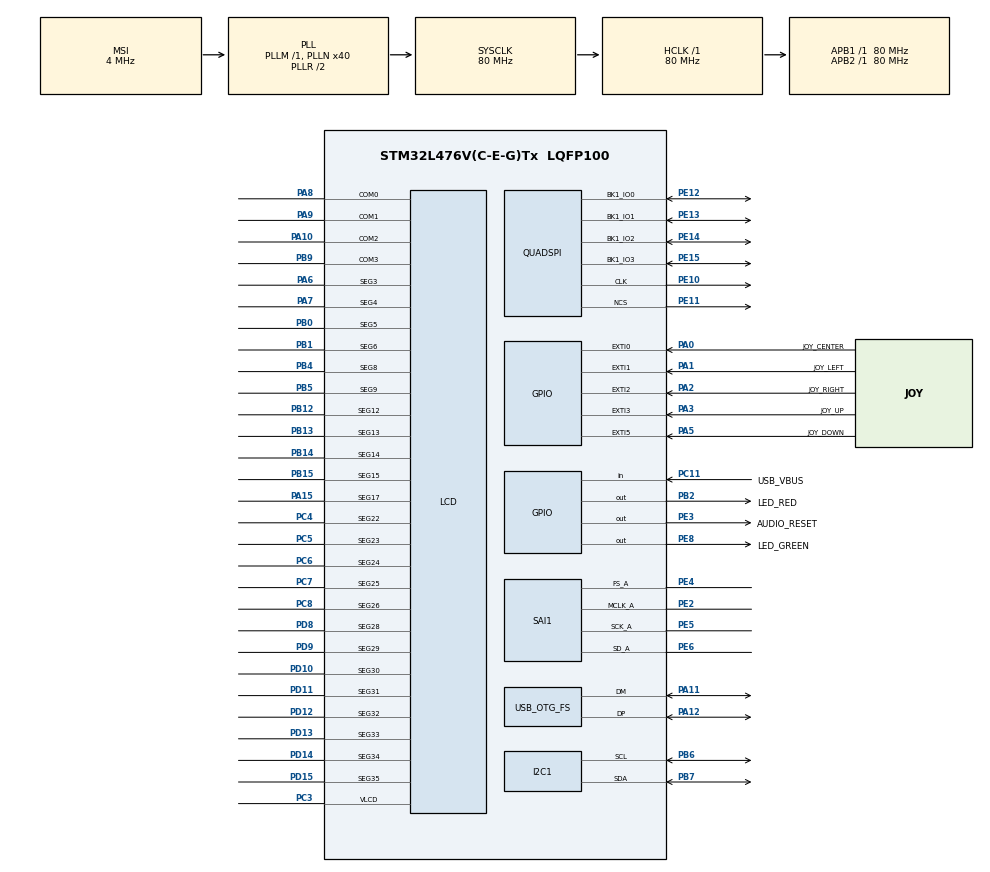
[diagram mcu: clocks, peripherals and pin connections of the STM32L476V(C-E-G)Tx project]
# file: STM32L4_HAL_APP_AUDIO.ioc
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Dma.Request0=SAI1_A
Dma.SAI1_A.0.Direction=DMA_MEMORY_TO_PERIPH
Dma.SAI1_A.0.Instance=DMA2_Channel1
Dma.SAI1_A.0.MemDataAlignment=DMA_MDATAALIGN_HALFWORD
Dma.SAI1_A.0.MemInc=DMA_MINC_ENABLE
Dma.SAI1_A.0.Mode=DMA_CIRCULAR
Dma.SAI1_A.0.PeriphDataAlignment=DMA_PDATAALIGN_HALFWORD
Dma.SAI1_A.0.PeriphInc=DMA_PINC_DISABLE
Dma.SAI1_A.0.Priority=DMA_PRIORITY_HIGH
FATFS._FS_EXFAT=1
FATFS._MAX_SS=4096
FATFS._MIN_SS=4096
FATFS._USE_LFN=2
FREERTOS.Mutexes01=qspiMutex,Dynamic,NULL
FREERTOS.Queues01=joystickInputQueue,1,uint16_t,0,Dynamic,NULL,NULL
FREERTOS.Tasks01=appTask,0,4096,appTaskBody,Default,NULL,Dynamic,NULL,NULL;usbTask,2,256,usbTaskBody,Default,NULL,Dynamic,NULL,NULL;audioTask,0,1024,audioTaskBody,Default,NULL,Dynamic,NULL,NULL;displayTask,0,128,displayTaskBody,Default,NULL,Dynamic,NULL,NULL
FREERTOS.configENABLE_FPU=1
FREERTOS.configTOTAL_HEAP_SIZE=32768
FREERTOS.configUSE_NEWLIB_REENTRANT=1
I2C1.I2C_Fall_Time=20
I2C1.I2C_Rise_Time=640
I2C1.Timing=0x40E03E53
LCD.Bias=LCD_BIAS_1_3
LCD.Contrast=LCD_CONTRASTLEVEL_5
LCD.Divider=LCD_DIVIDER_31
LCD.PulseOnDuration=LCD_PULSEONDURATION_5
Mcu.Family=STM32L4
Mcu.Name=STM32L476V(C-E-G)Tx
Mcu.Package=LQFP100
Mcu.UserConstants=A,0x1;B,0x2
NVIC.DMA2_Channel1_IRQn=true\:5\:0\:false\:false\:true\:true\:false\:true\:true
NVIC.EXTI0_IRQn=true\:5\:0\:false\:false\:true\:true\:true\:true\:true
NVIC.EXTI1_IRQn=true\:5\:0\:false\:false\:true\:true\:true\:true\:true
NVIC.EXTI2_IRQn=true\:5\:0\:false\:false\:true\:true\:true\:true\:true
NVIC.EXTI3_IRQn=true\:5\:0\:false\:false\:true\:true\:true\:true\:true
NVIC.EXTI9_5_IRQn=true\:5\:0\:false\:false\:true\:true\:true\:true\:true
NVIC.OTG_FS_IRQn=true\:5\:0\:false\:false\:true\:true\:false\:true\:true
NVIC.PriorityGroup=NVIC_PRIORITYGROUP_4
PA0.GPIO_Label=JOY_CENTER
PA0.GPIO_PuPd=GPIO_PULLDOWN
PA0.Signal=GPXTI0
PA1.GPIO_Label=JOY_LEFT
PA1.GPIO_PuPd=GPIO_PULLDOWN
PA1.Signal=GPXTI1
PA10.Mode=1/4 Duty Cycle
PA10.Signal=LCD_COM2
PA11.Mode=Device_Only
PA11.Signal=USB_OTG_FS_DM
PA12.Mode=Device_Only
PA12.Signal=USB_OTG_FS_DP
PA13\ (JTMS-SWDIO).Mode=Serial_Wire
PA13\ (JTMS-SWDIO).Signal=SYS_JTMS-SWDIO
PA14\ (JTCK-SWCLK).Mode=Serial_Wire
PA14\ (JTCK-SWCLK).Signal=SYS_JTCK-SWCLK
PA15\ (JTDI).Mode=SEG17
PA15\ (JTDI).Signal=LCD_SEG17
PA2.GPIO_Label=JOY_RIGHT
PA2.GPIO_PuPd=GPIO_PULLDOWN
PA2.Signal=GPXTI2
PA3.GPIO_Label=JOY_UP
PA3.GPIO_PuPd=GPIO_PULLDOWN
PA3.Signal=GPXTI3
PA5.GPIO_Label=JOY_DOWN
PA5.GPIO_PuPd=GPIO_PULLDOWN
PA5.Signal=GPXTI5
PA6.Mode=SEG3
PA6.Signal=LCD_SEG3
PA7.Mode=SEG4
PA7.Signal=LCD_SEG4
PA8.Mode=1/4 Duty Cycle
PA8.Signal=LCD_COM0
PA9.Mode=1/4 Duty Cycle
PA9.Signal=LCD_COM1
PB0.Mode=SEG5
PB0.Signal=LCD_SEG5
PB1.Mode=SEG6
PB1.Signal=LCD_SEG6
PB12.Mode=SEG12
PB12.Signal=LCD_SEG12
PB13.Mode=SEG13
PB13.Signal=LCD_SEG13
PB14.Mode=SEG14
PB14.Signal=LCD_SEG14
PB15.Mode=SEG15
PB15.Signal=LCD_SEG15
PB2.GPIO_Label=LED_RED
PB2.Signal=GPIO_Output
PB4\ (NJTRST).Mode=SEG8
PB4\ (NJTRST).Signal=LCD_SEG8
PB5.Mode=SEG9
PB5.Signal=LCD_SEG9
PB6.Mode=I2C
PB6.Signal=I2C1_SCL
PB7.Mode=I2C
PB7.Signal=I2C1_SDA
PB9.Mode=1/4 Duty Cycle
PB9.Signal=LCD_COM3
PC11.GPIO_Label=USB_VBUS
PC11.Signal=GPIO_Input
PC14-OSC32_IN\ (PC14).Mode=LSE-External-Oscillator
PC14-OSC32_IN\ (PC14).Signal=RCC_OSC32_IN
PC15-OSC32_OUT\ (PC15).Mode=LSE-External-Oscillator
PC15-OSC32_OUT\ (PC15).Signal=RCC_OSC32_OUT
PC3.Mode=1/4 Duty Cycle
PC3.Signal=LCD_VLCD
PC4.Mode=SEG22
PC4.Signal=LCD_SEG22
PC5.Mode=SEG23
PC5.Signal=LCD_SEG23
PC6.Mode=SEG24
PC6.Signal=LCD_SEG24
PC7.Mode=SEG25
PC7.Signal=LCD_SEG25
PC8.Mode=SEG26
PC8.Signal=LCD_SEG26
PD10.Mode=SEG30
PD10.Signal=LCD_SEG30
PD11.Mode=SEG31
PD11.Signal=LCD_SEG31
PD12.Mode=SEG32
PD12.Signal=LCD_SEG32
PD13.Mode=SEG33
PD13.Signal=LCD_SEG33
PD14.Mode=SEG34
PD14.Signal=LCD_SEG34
PD15.Mode=SEG35
PD15.Signal=LCD_SEG35
PD8.Mode=SEG28
PD8.Signal=LCD_SEG28
PD9.Mode=SEG29
PD9.Signal=LCD_SEG29
PE10.Mode=Single Bank
PE10.Signal=QUADSPI_CLK
PE11.Mode=Single Bank
PE11.Signal=QUADSPI_NCS
PE12.Mode=Single Bank
PE12.Signal=QUADSPI_BK1_IO0
PE13.Mode=Single Bank
PE13.Signal=QUADSPI_BK1_IO1
PE14.Mode=Single Bank
PE14.Signal=QUADSPI_BK1_IO2
PE15.Mode=Single Bank
PE15.Signal=QUADSPI_BK1_IO3
PE2.Mode=SAI_A_MasterWithClock
PE2.Signal=SAI1_MCLK_A
PE3.GPIO_Label=AUDIO_RESET
PE3.Signal=GPIO_Output
PE4.Mode=SAI_A_MasterWithClock
PE4.Signal=SAI1_FS_A
PE5.Mode=SAI_A_MasterWithClock
PE5.Signal=SAI1_SCK_A
PE6.Mode=SAI_A_MasterWithClock
PE6.Signal=SAI1_SD_A
PE8.GPIO_Label=LED_GREEN
PE8.Signal=GPIO_Output
ProjectManager.HeapSize=0x200
ProjectManager.StackSize=0x400
ProjectManager.TargetToolchain=STM32CubeIDE
QUADSPI.ClockPrescaler-Single\ Bank=0
QUADSPI.FifoThreshold-Single\ Bank=4
QUADSPI.FlashSize-Single\ Bank=(24-1)
RCC.ADCFreq_Value=96000000
RCC.AHBFreq_Value=80000000
RCC.APB1Freq_Value=80000000
RCC.APB1TimFreq_Value=80000000
RCC.APB2Freq_Value=80000000
RCC.APB2TimFreq_Value=80000000
RCC.CortexFreq_Value=80000000
RCC.HCLKFreq_Value=80000000
RCC.HSE_VALUE=8000000
RCC.HSI_VALUE=16000000
RCC.LPTIM2CLockSelection=RCC_LPTIM2CLKSOURCE_LSE
RCC.MSI_VALUE=4000000
RCC.PLLN=40
RCC.PLLSAI1N=48
RCC.PLLSAI1P=RCC_PLLP_DIV17
RCC.PLLSAI1Q=RCC_PLLQ_DIV4
RCC.RTCClockSelection=RCC_RTCCLKSOURCE_LSE
RCC.SYSCLKFreq_VALUE=80000000
RCC.SYSCLKSource=RCC_SYSCLKSOURCE_PLLCLK
RCC.USBFreq_Value=48000000
RCC.VCOOutputFreq_Value=160000000
SAI1.ActiveFrameLength-SAI_A_MasterWithClock=16
SAI1.AudioFrequency-SAI_A_MasterWithClock=SAI_AUDIO_FREQUENCY_44K
SAI1.ClockStrobing-SAI_A_MasterWithClock=SAI_CLOCKSTROBING_RISINGEDGE
SAI1.DataSize-SAI_A_MasterWithClock=SAI_DATASIZE_16
SAI1.ErrorAudioFreq-SAI_A_MasterWithClock=0.26 %
SAI1.FIFOThreshold-SAI_A_MasterWithClock=SAI_FIFOTHRESHOLD_1QF
SAI1.FSDefinition-SAI_A_MasterWithClock=SAI_FS_CHANNEL_IDENTIFICATION
SAI1.FSOffset-SAI_A_MasterWithClock=SAI_FS_BEFOREFIRSTBIT
SAI1.FrameLength-SAI_A_MasterWithClock=32
SAI1.Instance-SAI_A_MasterWithClock=SAI$Index_Block_A
SAI1.MClockEnable-SAI_A_MasterWithClock=SAI_MASTERCLOCK_ENABLE
SAI1.OutputDrive-SAI_A_MasterWithClock=SAI_OUTPUTDRIVE_ENABLE
SAI1.RealAudioFreq-SAI_A_MasterWithClock=44.117 KHz
SAI1.SlotActive-SAI_A_MasterWithClock=0x00000003
SAI1.SlotNumber-SAI_A_MasterWithClock=2
SAI1.VirtualMode-SAI_A_MasterWithClock=VM_MASTER
SAI1.VirtualSlotActive-SAI_A_MasterWithClock=SAI_SLOT_USERSETTING
SAI1.VirtualSlotActive0-SAI_A_MasterWithClock=true
SAI1.VirtualSlotActive1-SAI_A_MasterWithClock=true
USB_DEVICE.CLASS_NAME_FS=MSC
USB_DEVICE.MSC_MEDIA_PACKET=4096
USB_DEVICE.USBD_LPM_ENABLED=0
USB_DEVICE.VirtualMode=Msc
USB_DEVICE.VirtualModeFS=Msc_FS
USB_OTG_FS.VirtualMode=Device_Only
VP_FATFS_VS_Generic.Mode=User_defined
VP_FREERTOS_VS_CMSIS_V1.Mode=CMSIS_V1
VP_USB_DEVICE_VS_USB_DEVICE_MSC_FS.Mode=MSC_FS
board=STM32L476G-DISCO

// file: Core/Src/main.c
/* USER CODE BEGIN Header */
/**
  ******************************************************************************
  * @file           : main.c
  * @brief          : Main program body
  ******************************************************************************
  * @attention
  *
  * Copyright (c) 2023 STMicroelectronics.
  * All rights reserved.
  *
  * This software is licensed under terms that can be found in the LICENSE file
  * in the root directory of this software component.
  * If no LICENSE file comes with this software, it is provided AS-IS.
  *
  ******************************************************************************
  */
/* USER CODE END Header */
#include "main.h"
#include "cmsis_os.h"
#include "dma.h"
#include "fatfs.h"
#include "i2c.h"
#include "lcd.h"
#include "quadspi.h"
#include "sai.h"
#include "gpio.h"

void SystemClock_Config(void);
void PeriphCommonClock_Config(void);
void MX_FREERTOS_Init(void);

int main(void)
{

  /* MCU Configuration--------------------------------------------------------*/

  /* Reset of all peripherals, Initializes the Flash interface and the Systick. */
  HAL_Init();

  /* Configure the system clock */
  SystemClock_Config();

/* Configure the peripherals common clocks */
  PeriphCommonClock_Config();

  /* Initialize all configured peripherals */
  MX_GPIO_Init();
  MX_DMA_Init();
  MX_QUADSPI_Init();
  MX_FATFS_Init();
  MX_I2C1_Init();
  MX_SAI1_Init();
  MX_LCD_Init();

  /* Call init function for freertos objects (in freertos.c) */
  MX_FREERTOS_Init();

  /* Start scheduler */
  osKernelStart();

  /* We should never get here as control is now taken by the scheduler */
  /* Infinite loop */
  while (1)
  {

  }
}

void SystemClock_Config(void)
{
  RCC_OscInitTypeDef RCC_OscInitStruct = {0};
  RCC_ClkInitTypeDef RCC_ClkInitStruct = {0};

  /** Configure the main internal regulator output voltage
  */
  if (HAL_PWREx_ControlVoltageScaling(PWR_REGULATOR_VOLTAGE_SCALE1) != HAL_OK)
  {
    Error_Handler();
  }

  /** Configure LSE Drive Capability
  */
  HAL_PWR_EnableBkUpAccess();
  __HAL_RCC_LSEDRIVE_CONFIG(RCC_LSEDRIVE_LOW);

  /** Initializes the RCC Oscillators according to the specified parameters
  * in the RCC_OscInitTypeDef structure.
  */
  RCC_OscInitStruct.OscillatorType = RCC_OSCILLATORTYPE_LSE|RCC_OSCILLATORTYPE_MSI;
  RCC_OscInitStruct.LSEState = RCC_LSE_ON;
  RCC_OscInitStruct.MSIState = RCC_MSI_ON;
  RCC_OscInitStruct.MSICalibrationValue = 0;
  RCC_OscInitStruct.MSIClockRange = RCC_MSIRANGE_6;
  RCC_OscInitStruct.PLL.PLLState = RCC_PLL_ON;
  RCC_OscInitStruct.PLL.PLLSource = RCC_PLLSOURCE_MSI;
  RCC_OscInitStruct.PLL.PLLM = 1;
  RCC_OscInitStruct.PLL.PLLN = 40;
  RCC_OscInitStruct.PLL.PLLP = RCC_PLLP_DIV7;
  RCC_OscInitStruct.PLL.PLLQ = RCC_PLLQ_DIV2;
  RCC_OscInitStruct.PLL.PLLR = RCC_PLLR_DIV2;
  if (HAL_RCC_OscConfig(&RCC_OscInitStruct) != HAL_OK)
  {
    Error_Handler();
  }

  /** Initializes the CPU, AHB and APB buses clocks
  */
  RCC_ClkInitStruct.ClockType = RCC_CLOCKTYPE_HCLK|RCC_CLOCKTYPE_SYSCLK
                              |RCC_CLOCKTYPE_PCLK1|RCC_CLOCKTYPE_PCLK2;
  RCC_ClkInitStruct.SYSCLKSource = RCC_SYSCLKSOURCE_PLLCLK;
  RCC_ClkInitStruct.AHBCLKDivider = RCC_SYSCLK_DIV1;
  RCC_ClkInitStruct.APB1CLKDivider = RCC_HCLK_DIV1;
  RCC_ClkInitStruct.APB2CLKDivider = RCC_HCLK_DIV1;

  if (HAL_RCC_ClockConfig(&RCC_ClkInitStruct, FLASH_LATENCY_4) != HAL_OK)
  {
    Error_Handler();
  }

  /** Enable MSI Auto calibration
  */
  HAL_RCCEx_EnableMSIPLLMode();
}

void PeriphCommonClock_Config(void)
{
  RCC_PeriphCLKInitTypeDef PeriphClkInit = {0};

  /** Initializes the peripherals clock
  */
  PeriphClkInit.PeriphClockSelection = RCC_PERIPHCLK_SAI1|RCC_PERIPHCLK_USB;
  PeriphClkInit.Sai1ClockSelection = RCC_SAI1CLKSOURCE_PLLSAI1;
  PeriphClkInit.UsbClockSelection = RCC_USBCLKSOURCE_PLLSAI1;
  PeriphClkInit.PLLSAI1.PLLSAI1Source = RCC_PLLSOURCE_MSI;
  PeriphClkInit.PLLSAI1.PLLSAI1M = 1;
  PeriphClkInit.PLLSAI1.PLLSAI1N = 48;
  PeriphClkInit.PLLSAI1.PLLSAI1P = RCC_PLLP_DIV17;
  PeriphClkInit.PLLSAI1.PLLSAI1Q = RCC_PLLQ_DIV4;
  PeriphClkInit.PLLSAI1.PLLSAI1R = RCC_PLLR_DIV2;
  PeriphClkInit.PLLSAI1.PLLSAI1ClockOut = RCC_PLLSAI1_SAI1CLK|RCC_PLLSAI1_48M2CLK;
  if (HAL_RCCEx_PeriphCLKConfig(&PeriphClkInit) != HAL_OK)
  {
    Error_Handler();
  }
}

void Error_Handler(void)
{
  __disable_irq();
  while (1)
  {
  }
}

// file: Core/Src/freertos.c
/* USER CODE BEGIN Header */
/**
 ******************************************************************************
 * File Name          : freertos.c
 * Description        : Code for freertos applications
 ******************************************************************************
 * @attention
 *
 * Copyright (c) 2023 STMicroelectronics.
 * All rights reserved.
 *
 * This software is licensed under terms that can be found in the LICENSE file
 * in the root directory of this software component.
 * If no LICENSE file comes with this software, it is provided AS-IS.
 *
 ******************************************************************************
 */
/* USER CODE END Header */

#include "FreeRTOS.h"
#include "task.h"
#include "main.h"
#include "cmsis_os.h"

/* USER CODE BEGIN Includes */
#include "usbd_core.h"
#include "usb_device.h"
#include "fatfs.h"
#include "sai.h"
#include "cs43l22.h"
#include "lcd.h"
/* USER CODE END Includes */

/* USER CODE BEGIN PTD */
#define AUDIO_BUFFER_SIZE     (1024 * 8)    //8K
#define WAV_FILE_HEADER_SIZE  44
/* USER CODE END PTD */

/* USER CODE BEGIN PD */
typedef enum {
  AUDIOPLAYER_STATE_STOPPED = 0,
  AUDIOPLAYER_STATE_RUNNING,
  AUDIOPLAYER_STATE_PAUSED
} AudioPlayer_StateTypeDef;
/* USER CODE END PD */

/* USER CODE BEGIN Variables */
FIL file;
FATFS fatFS;
uint8_t audioBuffer[AUDIO_BUFFER_SIZE];
uint32_t actualPosition;
AudioPlayer_StateTypeDef  AppState = AUDIOPLAYER_STATE_STOPPED;

/* USER CODE END Variables */
osThreadId appTaskHandle;
osThreadId usbTaskHandle;
osThreadId audioTaskHandle;
osThreadId displayTaskHandle;
osMessageQId joystickInputQueueHandle;
osMutexId qspiMutexHandle;

/* USER CODE BEGIN FunctionPrototypes */
static void audioPlayerStart(void);
static void audioPlayerStop(void);
static void audioPlayerPause(void);
static void audioPlayerResume(void);
static void handleJoystickEvent(osEvent event);
/* USER CODE END FunctionPrototypes */

void appTaskBody(void const * argument);
void usbTaskBody(void const * argument);
void audioTaskBody(void const * argument);
void displayTaskBody(void const * argument);

void MX_FREERTOS_Init(void); /* (MISRA C 2004 rule 8.1) */

/* GetIdleTaskMemory prototype (linked to static allocation support) */
void vApplicationGetIdleTaskMemory( StaticTask_t **ppxIdleTaskTCBBuffer, StackType_t **ppxIdleTaskStackBuffer, uint32_t *pulIdleTaskStackSize );

/* USER CODE BEGIN GET_IDLE_TASK_MEMORY */
static StaticTask_t xIdleTaskTCBBuffer;
static StackType_t xIdleStack[configMINIMAL_STACK_SIZE];

void vApplicationGetIdleTaskMemory(StaticTask_t **ppxIdleTaskTCBBuffer, StackType_t **ppxIdleTaskStackBuffer, uint32_t *pulIdleTaskStackSize)
{
  *ppxIdleTaskTCBBuffer = &xIdleTaskTCBBuffer;
  *ppxIdleTaskStackBuffer = &xIdleStack[0];
  *pulIdleTaskStackSize = configMINIMAL_STACK_SIZE;
  /* place for user code */
}
/* USER CODE END GET_IDLE_TASK_MEMORY */

void MX_FREERTOS_Init(void) {
  /* Create the mutex(es) */
  /* definition and creation of qspiMutex */
  osMutexDef(qspiMutex);
  qspiMutexHandle = osMutexCreate(osMutex(qspiMutex));

  /* Create the queue(s) */
  /* definition and creation of joystickInputQueue */
  osMessageQDef(joystickInputQueue, 1, uint16_t);
  joystickInputQueueHandle = osMessageCreate(osMessageQ(joystickInputQueue), NULL);

  /* Create the thread(s) */
  /* definition and creation of appTask */
  osThreadDef(appTask, appTaskBody, osPriorityNormal, 0, 4096);
  appTaskHandle = osThreadCreate(osThread(appTask), NULL);

  /* definition and creation of usbTask */
  osThreadDef(usbTask, usbTaskBody, osPriorityHigh, 0, 256);
  usbTaskHandle = osThreadCreate(osThread(usbTask), NULL);

  /* definition and creation of audioTask */
  osThreadDef(audioTask, audioTaskBody, osPriorityNormal, 0, 1024);
  audioTaskHandle = osThreadCreate(osThread(audioTask), NULL);

  /* definition and creation of displayTask */
  osThreadDef(displayTask, displayTaskBody, osPriorityNormal, 0, 128);
  displayTaskHandle = osThreadCreate(osThread(displayTask), NULL);

}

void appTaskBody(void const * argument)
{
  /* USER CODE BEGIN appTaskBody */

  // get mutex first before access flash memory
  osMutexWait(qspiMutexHandle, osWaitForever);

  // mount file system
  if(f_mount(&fatFS, (TCHAR const*) USERPath, 1) != FR_OK)
  {
    uint8_t work[_MIN_SS];
    if(f_mkfs((TCHAR const*) USERPath, FM_ANY, 0, work, sizeof(work)) != FR_OK)
    {
      Error_Handler();
    }
    else
    {
      if(f_mount(&fatFS, (TCHAR const*) USERPath, 1) != FR_OK)
      {
        Error_Handler();
      }
    }
  }

  // file open test
  if(f_open(&file, "FATFSOK", FA_CREATE_NEW | FA_WRITE) == FR_OK)
  {
    f_printf(&file, "FatFS is working properly.\n");
    f_close(&file);
  }

  // release mutex
  osMutexRelease(qspiMutexHandle);

  // check CS43L22 is available
  if(CS43L22_ID != AUDIO_ReadID(AUDIO_I2C_ADDRESS))
  {
    Error_Handler();
  }

  // initialize audio
  if(AUDIO_Init(AUDIO_I2C_ADDRESS, OUTPUT_DEVICE_HEADPHONE, 60, AUDIO_FREQUENCY_44K) != 0)
  {
    Error_Handler();
  }

  /* Infinite loop */
  for(;;)
  {
    osEvent event = osMessageGet(joystickInputQueueHandle, osWaitForever);

    if(event.status == osEventMessage)
    {
      handleJoystickEvent(event);
    }
  }
  /* USER CODE END appTaskBody */
}

void usbTaskBody(void const * argument)
{
  /* USER CODE BEGIN usbTaskBody */
  uint32_t USB_VBUS_counter = 0;
  /* Infinite loop */
  for(;;)
  {
    USB_VBUS_counter = 0;

    // as long as VBUS is low, it never exit the loop
    while(USB_VBUS_counter < 5)
    {
      osDelay(10);
      // check VBUS HIGH 5 times
      if(HAL_GPIO_ReadPin(USB_VBUS_GPIO_Port, USB_VBUS_Pin) != GPIO_PIN_RESET)
      {
        USB_VBUS_counter++;
      }
      else
      {
        break;
      }
    }

    // if VBUS is HIGH, initialize USB Device
    if(USB_VBUS_counter >= 5)
    {
      // stop audio
      audioPlayerStop();

      // get mutex and shouldn't release until USB is disconnected
      osMutexWait(qspiMutexHandle, osWaitForever);

      // initialize USB
      MX_USB_DEVICE_Init();

      // Red led on
      HAL_GPIO_WritePin(LED_RED_GPIO_Port, LED_RED_Pin, GPIO_PIN_SET);

      // if VBUS is LOW, then deinitialize USB device
      // as long as VBUS is HIGH, it never exit the loop
      while(USB_VBUS_counter)
      {
        osDelay(100);

        if(HAL_GPIO_ReadPin(USB_VBUS_GPIO_Port, USB_VBUS_Pin) == GPIO_PIN_RESET)
        {
          USB_VBUS_counter--;
        }
        else
        {
          USB_VBUS_counter = 5;
        }
      }

      // de-initialize USB
      USBD_DeInit(&hUsbDeviceFS);

      // release mutex
      osMutexRelease(qspiMutexHandle);

      // Red led off
      HAL_GPIO_WritePin(LED_RED_GPIO_Port, LED_RED_Pin, GPIO_PIN_RESET);
    }

    osDelay(1000);
  }
  /* USER CODE END usbTaskBody */
}

void audioTaskBody(void const * argument)
{
  /* USER CODE BEGIN audioTaskBody */
  uint32_t bufferOffset = 0;
  uint32_t bytesRead = 0;
  osEvent event;

  /* pause at first */
  osThreadSuspend(audioTaskHandle);

  /* Infinite loop */
  for(;;)
  {
    // wait DMA transmit signal
    event = osSignalWait(A | B, osWaitForever);

    if(event.status == osEventSignal)
    {
      switch(event.value.v)
      {
      case B:
        // full tx complete
        bufferOffset = AUDIO_BUFFER_SIZE / 2;
        break;
      case A:
        // half tx complete
        bufferOffset = 0;
        break;
      default:
        break;
      }

      // acquire mutex
      osMutexWait(qspiMutexHandle, osWaitForever);

      if(f_read(&file, (audioBuffer + bufferOffset), (AUDIO_BUFFER_SIZE/2), (UINT*)&bytesRead) != FR_OK)
      {
        Error_Handler();
      }

      // update position info
      actualPosition += bytesRead;

      // check EOF and move to the start position of wav data
      if((actualPosition + (AUDIO_BUFFER_SIZE / 2)) > f_size(&file))
      {
        if(f_rewind(&file) != FR_OK)
        {
          Error_Handler();
        }

        if(f_lseek(&file, WAV_FILE_HEADER_SIZE) != FR_OK)
        {
          Error_Handler();
        }

        actualPosition = WAV_FILE_HEADER_SIZE;
      }

      // release mutex
      osMutexRelease(qspiMutexHandle);

      // toggle GREEN LED
      HAL_GPIO_TogglePin(LED_GREEN_GPIO_Port, LED_GREEN_Pin);
    }
  }
  /* USER CODE END audioTaskBody */
}

void displayTaskBody(void const * argument)
{
  /* USER CODE BEGIN displayTaskBody */
  uint32_t prevAppState = -1;

  /* Infinite loop */
  for(;;)
  {
    if (prevAppState != AppState)
    {
      switch(AppState)
      {
      case AUDIOPLAYER_STATE_STOPPED:
        LCD_GLASS_Clear();
        LCD_GLASS_DisplayString((uint8_t*)"*STOP*");
        break;
      case AUDIOPLAYER_STATE_RUNNING:
        LCD_GLASS_Clear();
        LCD_GLASS_DisplayString((uint8_t*)"*PLAY*");
        break;
      case AUDIOPLAYER_STATE_PAUSED:
        LCD_GLASS_Clear();
        LCD_GLASS_DisplayString((uint8_t*)"PAUSED");
        break;
      default:
        Error_Handler();
        break;
      }
    }
    else {
      /* Add some animations or display content changes depending on the App State */
    }

    prevAppState = AppState;
    osDelay(100);
  }
  /* USER CODE END displayTaskBody */
}

/* USER CODE BEGIN Application */
/**
 * @brief Tx Transfer completed callbacks.
 * @param  hsai : pointer to a SAI_HandleTypeDef structure that contains
 *                the configuration information for SAI module.
 * @retval None
 */
void HAL_SAI_TxCpltCallback(SAI_HandleTypeDef *hsai)
{
  osSignalSet(audioTaskHandle, B);
}

/**
 * @brief Tx Transfer Half completed callbacks
 * @param  hsai : pointer to a SAI_HandleTypeDef structure that contains
 *                the configuration information for SAI module.
 * @retval None
 */
void HAL_SAI_TxHalfCpltCallback(SAI_HandleTypeDef *hsai)
{
  osSignalSet(audioTaskHandle, A);
}

/**
 * @brief  EXTI line detection callback.
 * @param  GPIO_Pin Specifies the port pin connected to corresponding EXTI line.
 * @retval None
 */
void HAL_GPIO_EXTI_Callback(uint16_t GPIO_Pin)
{
  switch (GPIO_Pin)
  {
  case JOY_CENTER_Pin:
    osMessagePut(joystickInputQueueHandle, JOY_CENTER_Pin, 0);
    break;
  case JOY_LEFT_Pin:
    osMessagePut(joystickInputQueueHandle, JOY_LEFT_Pin, 0);
    break;
  case JOY_RIGHT_Pin:
    osMessagePut(joystickInputQueueHandle, JOY_RIGHT_Pin, 0);
    break;
  case JOY_UP_Pin:
    osMessagePut(joystickInputQueueHandle, JOY_UP_Pin, 0);
    break;
  case JOY_DOWN_Pin:
    osMessagePut(joystickInputQueueHandle, JOY_DOWN_Pin, 0);
    break;
  default:
    Error_Handler();
    break;
  }
}

// Joystick input handler
static void handleJoystickEvent(osEvent event)
{
  if (event.status != osEventMessage) return;

  switch(AppState)
  {
  case AUDIOPLAYER_STATE_STOPPED:
    if(event.value.v == JOY_RIGHT_Pin)
    {
      audioPlayerStart();
    }
    break;
  case AUDIOPLAYER_STATE_RUNNING:
    if(event.value.v == JOY_CENTER_Pin)
    {
      audioPlayerPause();
    }
    else if(event.value.v == JOY_LEFT_Pin)
    {
      audioPlayerStop();
    }
    break;
  case AUDIOPLAYER_STATE_PAUSED:
    if(event.value.v == JOY_RIGHT_Pin)
    {
      audioPlayerResume();
    }
    else if(event.value.v == JOY_LEFT_Pin)
    {
      audioPlayerStop();
    }
    break;
  default:
    break;
  }
}

/* audio functions */
static void audioPlayerStart(void)
{
  /* Wake-Up external audio Codec and enable output */
  if(0 != AUDIO_Play(AUDIO_I2C_ADDRESS, NULL, 0))
  {
    Error_Handler();
  }

  /* Wait for the qspiMutex */
  osMutexWait(qspiMutexHandle, osWaitForever);

  /* Create and Open a new text file object with write access */
  if(f_open(&file, (TCHAR const*)"audio.wav", FA_READ) != FR_OK)
  {
    Error_Handler();
  }

  /* Skip the WAV header - this we don't want to listen to :) */
  actualPosition = WAV_FILE_HEADER_SIZE;

  /* Move file pointer to appropriate address - keep in mind that the file consists of many blocks in sectors */
  if (f_lseek(&file, WAV_FILE_HEADER_SIZE) != FR_OK)
  {
    Error_Handler();
  }

  /* Release the qspiMutex */
  osMutexRelease(qspiMutexHandle);

  /* Start the SAI DMA transfer from the Buffer */
  if(HAL_OK != HAL_SAI_Transmit_DMA(&hsai_BlockA1, (uint8_t *)audioBuffer, AUDIO_BUFFER_SIZE/2))
  {
    Error_Handler();
  }

  /* update state */
  AppState = AUDIOPLAYER_STATE_RUNNING;

  /* resume task */
  osThreadResume(audioTaskHandle);

}

static void audioPlayerStop(void)
{
  /* Stop the playback */
  if (AUDIO_Stop(AUDIO_I2C_ADDRESS, CODEC_PDWN_SW) != 0)
  {
    Error_Handler();
  }
  /* Stop DMA transfer */
  if (HAL_SAI_DMAStop(&hsai_BlockA1) != HAL_OK)
  {
    Error_Handler();
  }

  /* Wait for the qspiMutex */
  osMutexWait(qspiMutexHandle, osWaitForever);

  /* Pause the audioTask */
  osThreadSuspend(audioTaskHandle);

  /* Close the Audio file */
  if(f_close(&file) != FR_OK)
  {
    Error_Handler();
  }

  /* Release the qspiMutex */
  osMutexRelease(qspiMutexHandle);

  /* Turn OFF the PLAY signaling LED */
  HAL_GPIO_WritePin(LED_GREEN_GPIO_Port, LED_GREEN_Pin, GPIO_PIN_RESET);

  AppState = AUDIOPLAYER_STATE_STOPPED;
}

static void audioPlayerPause(void)
{
  /* Stop the playback */
  if (AUDIO_Pause(AUDIO_I2C_ADDRESS) != 0)
  {
    Error_Handler();
  }
  /* Stop DMA transfer */
  if (HAL_SAI_DMAPause(&hsai_BlockA1) != HAL_OK)
  {
    Error_Handler();
  }

  /* Wait for the qspiMutex */
  osMutexWait(qspiMutexHandle, osWaitForever);

  /* Pause the audioTask */
  osThreadSuspend(audioTaskHandle);

  /* Release the qspiMutex */
  osMutexRelease(qspiMutexHandle);

  /* Turn OFF the PLAY signaling LED */
  HAL_GPIO_WritePin(LED_GREEN_GPIO_Port, LED_GREEN_Pin, GPIO_PIN_RESET);

  AppState = AUDIOPLAYER_STATE_PAUSED;
}

static void audioPlayerResume(void)
{
  /* Resume DMA transfer */
  if (HAL_SAI_DMAResume(&hsai_BlockA1) != HAL_OK)
  {
    Error_Handler();
  }
  /* Resume the playback */
  if (AUDIO_Resume(AUDIO_I2C_ADDRESS) != 0)
  {
    Error_Handler();
  }

  AppState = AUDIOPLAYER_STATE_RUNNING;

  /* Resume audioTask */
  osThreadResume(audioTaskHandle);
}

/* USER CODE END Application */
